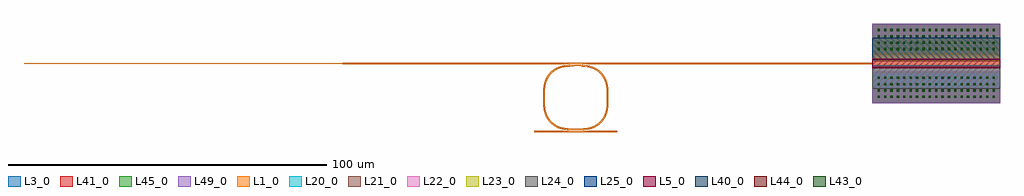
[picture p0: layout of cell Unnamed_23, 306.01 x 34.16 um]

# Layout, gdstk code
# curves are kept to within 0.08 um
from math import pi, radians
import gdstk
lib = gdstk.Library(unit=1e-6, precision=1e-09)
def R(c, l, rs):  # rectangles x0, y0, x1, y1
    for r in rs: c.add(gdstk.rectangle(r[:2], r[2:], *l))
def P(c, l, *ps):  # polygons
    for p in ps: c.add(gdstk.Polygon(p, *l))
L1_0 = (1, 0)
L3_0 = (3, 0)
L5_0 = (5, 0)
L20_0 = (20, 0)
L21_0 = (21, 0)
L22_0 = (22, 0)
L23_0 = (23, 0)
L24_0 = (24, 0)
L25_0 = (25, 0)
L40_0 = (40, 0)
L41_0 = (41, 0)
L43_0 = (43, 0)
L44_0 = (44, 0)
L45_0 = (45, 0)
L49_0 = (49, 0)

edge_coupler_silicon_gds = lib.new_cell('edge_coupler_silicon_gdsfactorypcomponentspedge_coupler_5718d84a')
P(edge_coupler_silicon_gds, L1_0, [(0,-0.25),(0,0.25),(100,0.1),(100,-0.1)])

coupler_ring_gdsfactoryp = lib.new_cell('coupler_ring_gdsfactorypcomponentspcouplerspcoupler_rin_dd30faef')
R(coupler_ring_gdsfactoryp, L1_0, [(-13.01,-0.25,13,0.25)])
P(coupler_ring_gdsfactoryp, L1_0, [(-0.426,0.45),(-2.945,0.556),(-4.893,0.944),(-5.829,1.302),(-6.589,1.708),(-7.407,2.29),(-8.039,2.874),(-8.598,3.529),(-9.147,4.369),(-9.577,5.277),(-9.846,6.091),(-10.181,8.046),(-10.26,10.7),(-9.76,10.7),(-9.657,7.819),(-9.49,6.748),(-9.204,5.71),(-8.505,4.269),(-7.585,3.125),(-6.879,2.511),(-6.213,2.065),(-4.745,1.422),(-2.891,1.053),(-0.425,0.95),(2.474,1.015),(4.346,1.312),(5.116,1.551),(5.969,1.935),(6.762,2.431),(7.382,2.94),(8.422,4.157),(9.149,5.584),(9.451,6.616),(9.647,7.819),(9.75,10.7),(10.25,10.7),(10.144,7.765),(9.756,5.817),(9.398,4.881),(8.992,4.121),(8.41,3.303),(7.826,2.671),(7.171,2.112),(6.331,1.563),(5.423,1.133),(4.609,0.864),(3.636,0.652),(2.514,0.517)])

straight_gdsfactorypcomp = lib.new_cell('straight_gdsfactorypcomponentspwaveguidespstraight_L0p0_05377f40')
R(straight_gdsfactorypcomp, L1_0, [(0,-0.25,0.01,0.25)])

ring_double_gdsfactorypc = lib.new_cell('ring_double_gdsfactorypcomponentspringspring_double_G0p_fee0c62d')
ring_double_gdsfactorypc.add(gdstk.Reference(coupler_ring_gdsfactoryp, (0,0)))
ring_double_gdsfactorypc.add(gdstk.Reference(coupler_ring_gdsfactoryp, (-0.01,21.41), rotation=pi))
ring_double_gdsfactorypc.add(gdstk.Reference(straight_gdsfactorypcomp, (-10.01,10.7), rotation=pi/2))
ring_double_gdsfactorypc.add(gdstk.Reference(straight_gdsfactorypcomp, (10,10.71), rotation=3*pi/2))

c_straight_gdsfactorypcomp = lib.new_cell('straight_gdsfactorypcomponentspwaveguidespstraight_L40__e75c9e9b')
R(c_straight_gdsfactorypcomp, L1_0, [(0,-3,40,3)])
R(c_straight_gdsfactorypcomp, L5_0, [(0,-1.5,40,1.5)])
R(c_straight_gdsfactorypcomp, L20_0, [(0,-8,40,-0.6)])
R(c_straight_gdsfactorypcomp, L21_0, [(0,0.6,40,8)])
R(c_straight_gdsfactorypcomp, L22_0, [(0,-8,40,-0.9)])
R(c_straight_gdsfactorypcomp, L23_0, [(0,0.9,40,8)])
R(c_straight_gdsfactorypcomp, L24_0, [(0,-8,40,-1.1)])
R(c_straight_gdsfactorypcomp, L25_0, [(0,1.1,40,8)])

taper_gdsfactorypcompone = lib.new_cell('taper_gdsfactorypcomponentsptapersptaper_L20_W0p5_W0p8__54ea6115')
P(taper_gdsfactorypcompone, L1_0, [(20,-0.4),(0,-0.25),(0,0.25),(20,0.4)])

compass_gdsfactorypcompo = lib.new_cell('compass_gdsfactorypcomponentspshapespcompass_S40_10_LSL_1ad8fd33')
R(compass_gdsfactorypcompo, L3_0, [(-20,-5,20,5)])

c_compass_gdsfactorypcompo = lib.new_cell('compass_gdsfactorypcomponentspshapespcompass_S40_10_LM1_dc701dbe')
R(c_compass_gdsfactorypcompo, L41_0, [(-20,-5,20,5)])

c_compass_gdsfactorypcompo_ = lib.new_cell('compass_gdsfactorypcomponentspshapespcompass_S40_10_LM2_fafd2bda')
R(c_compass_gdsfactorypcompo_, L45_0, [(-20,-5,20,5)])

c_compass_gdsfactorypcompo__ = lib.new_cell('compass_gdsfactorypcomponentspshapespcompass_S40_10_LM3_8bd7278e')
R(c_compass_gdsfactorypcompo__, L49_0, [(-20,-5,20,5)])

via_gdsfactorypcomponent = lib.new_cell('via_gdsfactorypcomponentspviaspvia_S0p7_0p7_E1_LVIAC_BL_572539c8')
R(via_gdsfactorypcomponent, L40_0, [(-0.35,-0.35,0.35,0.35)])

c_via_gdsfactorypcomponent = lib.new_cell('via_gdsfactorypcomponentspviaspvia_S0p7_0p7_E1_LVIA1_BL_0068d91e')
R(c_via_gdsfactorypcomponent, L44_0, [(-0.35,-0.35,0.35,0.35)])

c_via_gdsfactorypcomponent_ = lib.new_cell('via_gdsfactorypcomponentspviaspvia_S0p7_0p7_E1_LVIA2_BL_c51b5ebb')
R(c_via_gdsfactorypcomponent_, L43_0, [(-0.35,-0.35,0.35,0.35)])

via_stack_gdsfactorypcom = lib.new_cell('via_stack_gdsfactorypcomponentspviaspvia_stack_S40_10_L_67a2fd6a')
via_stack_gdsfactorypcom.add(gdstk.Reference(compass_gdsfactorypcompo, (0,0)))
via_stack_gdsfactorypcom.add(gdstk.Reference(c_compass_gdsfactorypcompo, (0,0)))
via_stack_gdsfactorypcom.add(gdstk.Reference(c_compass_gdsfactorypcompo_, (0,0)))
via_stack_gdsfactorypcom.add(gdstk.Reference(c_compass_gdsfactorypcompo__, (0,0)))
r = gdstk.Reference(via_gdsfactorypcomponent, (-18,-3)); r.repetition = gdstk.Repetition(19, 4, v1=(2,0), v2=(0,2)); via_stack_gdsfactorypcom.add(r)
r = gdstk.Reference(c_via_gdsfactorypcomponent, (-18,-3)); r.repetition = gdstk.Repetition(19, 4, v1=(2,0), v2=(0,2)); via_stack_gdsfactorypcom.add(r)
r = gdstk.Reference(c_via_gdsfactorypcomponent_, (-18,-3)); r.repetition = gdstk.Repetition(19, 4, v1=(2,0), v2=(0,2)); via_stack_gdsfactorypcom.add(r)

ge_detector_straight_si_ = lib.new_cell('ge_detector_straight_si_contacts_gdsfactorypcomponentsp_ca4976dc')
ge_detector_straight_si_.add(gdstk.Reference(c_straight_gdsfactorypcomp, (0,0)))
ge_detector_straight_si_.add(gdstk.Reference(taper_gdsfactorypcompone, (-20,0)))
ge_detector_straight_si_.add(gdstk.Reference(via_stack_gdsfactorypcom, (20,7.5)))
ge_detector_straight_si_.add(gdstk.Reference(via_stack_gdsfactorypcom, (20,-7.5)))

c_straight_gdsfactorypcomp_ = lib.new_cell('straight_gdsfactorypcomponentspwaveguidespstraight_L60__19f0af99')
R(c_straight_gdsfactorypcomp_, L1_0, [(0,-0.25,60,0.25)])

unnamed_23 = lib.new_cell('Unnamed_23')
unnamed_23.add(gdstk.Reference(edge_coupler_silicon_gds, (100,0), rotation=pi))
unnamed_23.add(gdstk.Reference(ring_double_gdsfactorypc, (173.01,-21.41)))
unnamed_23.add(gdstk.Reference(ge_detector_straight_si_, (266.01,0)))
unnamed_23.add(gdstk.Reference(c_straight_gdsfactorypcomp_, (100,0)))
unnamed_23.add(gdstk.Reference(c_straight_gdsfactorypcomp_, (186.01,0)))

lib.write_gds('Unnamed_23.gds')
